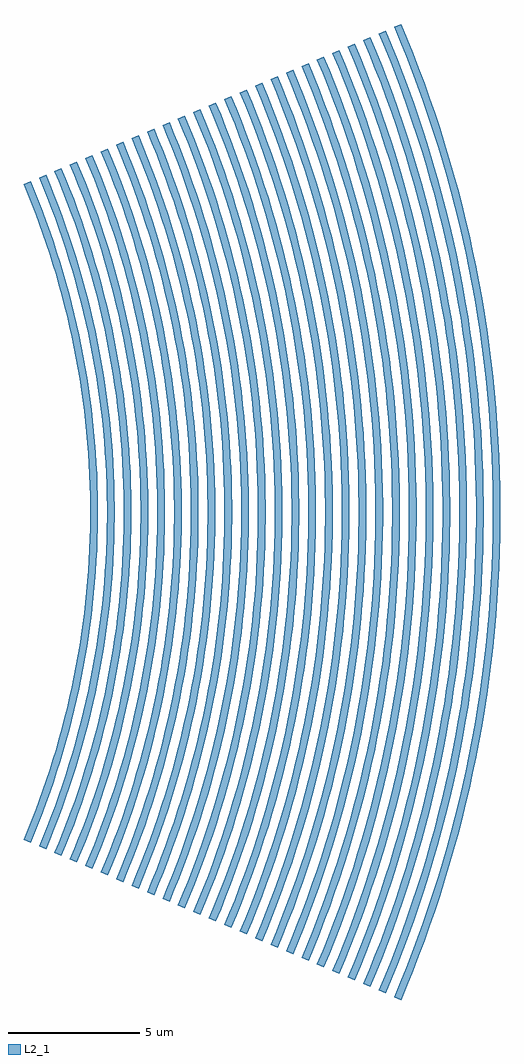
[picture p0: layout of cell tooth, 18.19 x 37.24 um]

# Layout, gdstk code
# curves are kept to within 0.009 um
import gdstk
lib = gdstk.Library(unit=1e-6, precision=1e-10)
def P(c, l, *ps):  # polygons
    for p in ps: c.add(gdstk.Polygon(p, *l))
L2_1 = (2, 1)

tooth = lib.new_cell('tooth')
P(tooth, L2_1, [(29.7231,-12.6167),(30.1836,-11.4714),(30.4662,-10.6985),(30.7289,-9.9186),(30.9717,-9.1323),(31.1944,-8.34),(31.3968,-7.5423),(31.5788,-6.7397),(31.7403,-5.9328),(31.8812,-5.1219),(32.0014,-4.3078),(32.1007,-3.4909),(32.1793,-2.6716),(32.2369,-1.8507),(32.2736,-1.0286),(32.2893,-0.2057),(32.2841,0.6172),(32.2579,1.4397),(32.2107,2.2614),(32.1426,3.0815),(32.0537,3.8996),(31.9439,4.7153),(31.8133,5.5278),(31.6621,6.3368),(31.4903,7.1416),(31.2981,7.9418),(31.0856,8.7368),(30.8528,9.5262),(30.6,10.3094),(30.3273,11.0858),(30.035,11.8551),(29.7231,12.6167),(29.4562,12.5034),(29.7652,11.7487),(30.055,10.9863),(30.3252,10.2168),(30.5757,9.4406),(30.8064,8.6584),(31.1148,7.4746),(31.2952,6.6792),(31.4552,5.8795),(31.5949,5.0759),(31.714,4.2691),(31.854,3.0538),(31.9214,2.2411),(31.9682,1.4268),(31.9994,0.2039),(31.9838,-1.0193),(31.9474,-1.8341),(31.8903,-2.6477),(31.8124,-3.4595),(31.714,-4.2691),(31.5276,-5.4782),(31.3778,-6.2798),(31.1148,-7.4746),(30.9142,-8.2651),(30.6935,-9.0502),(30.3252,-10.2168),(30.055,-10.9863),(29.7652,-11.7487),(29.4562,-12.5034)],
  [(30.3122,-12.8668),(30.6303,-12.0901),(30.9284,-11.3056),(31.2065,-10.5137),(31.4643,-9.715),(31.7017,-8.91),(31.9185,-8.0992),(32.1145,-7.2831),(32.2897,-6.4623),(32.4439,-5.6374),(32.577,-4.8087),(32.689,-3.9769),(32.7797,-3.1426),(32.8759,-1.8874),(32.9133,-1.0489),(32.9293,-0.2098),(32.924,0.6294),(32.8972,1.4683),(32.8491,2.3062),(32.7797,3.1426),(32.689,3.9769),(32.577,4.8087),(32.4439,5.6374),(32.2897,6.4623),(32.1145,7.2831),(31.9185,8.0992),(31.7017,8.91),(31.4643,9.715),(31.2065,10.5137),(30.9284,11.3056),(30.6303,12.0901),(30.3122,12.8668),(30.0453,12.7535),(30.3605,11.9836),(30.6561,11.206),(31.062,10.0261),(31.3074,9.2312),(31.5325,8.4304),(31.7371,7.6241),(31.9211,6.8128),(32.0843,5.9971),(32.2901,4.7664),(32.4011,3.9419),(32.491,3.1149),(32.5599,2.2859),(32.6075,1.4554),(32.6393,0.208),(32.6234,-1.0397),(32.5863,-1.8708),(32.5281,-2.7006),(32.4011,-3.9419),(32.2901,-4.7664),(32.1582,-5.5877),(32.0053,-6.4054),(31.8317,-7.219),(31.6374,-8.0279),(31.3074,-9.2312),(31.062,-10.0261),(30.6561,-11.206),(30.3605,-11.9836),(30.0453,-12.7535)],
  [(30.9013,-13.1168),(31.3801,-11.9262),(31.6739,-11.1226),(31.947,-10.3118),(32.1994,-9.4943),(32.4309,-8.6706),(32.6414,-7.8413),(32.8306,-7.0069),(32.9985,-6.1679),(33.145,-5.325),(33.2699,-4.4786),(33.3732,-3.6292),(33.4549,-2.7776),(33.5148,-1.9241),(33.553,-1.0693),(33.5693,-0.2139),(33.5639,0.6417),(33.5366,1.4968),(33.4876,2.351),(33.4168,3.2037),(33.3243,4.0542),(33.2101,4.9022),(33.0744,5.7469),(32.9172,6.5879),(32.7386,7.4247),(32.5388,8.2566),(32.3178,9.0832),(32.0758,9.9038),(31.813,10.718),(31.5295,11.5253),(31.2256,12.3251),(30.9013,13.1168),(30.6344,13.0035),(30.9558,12.2186),(31.2572,11.4257),(31.5382,10.6255),(31.9213,9.4122),(32.1508,8.5957),(32.3594,7.7735),(32.547,6.9464),(32.7134,6.1147),(32.9233,4.8598),(33.0364,4.0192),(33.1281,3.176),(33.2253,1.9074),(33.2631,1.0601),(33.2793,0.2121),(33.2739,-0.6361),(33.2469,-1.4839),(33.1659,-2.7536),(33.0849,-3.5979),(32.9825,-4.4399),(32.7887,-5.6973),(32.6329,-6.531),(32.3594,-7.7735),(32.1508,-8.5957),(31.9213,-9.4122),(31.5382,-10.6255),(31.2572,-11.4257),(30.9558,-12.2186),(30.6344,-13.0035)],
  [(31.4905,-13.3669),(31.8209,-12.56),(32.1306,-11.745),(32.4195,-10.9224),(32.6874,-10.0926),(32.9339,-9.2563),(33.1591,-8.414),(33.3628,-7.5662),(33.5448,-6.7135),(33.705,-5.8565),(33.8433,-4.9956),(33.9596,-4.1315),(34.0539,-3.2647),(34.1538,-1.9607),(34.1926,-1.0897),(34.2093,-0.218),(34.2037,0.6539),(34.176,1.5254),(34.126,2.3958),(34.0539,3.2647),(33.9596,4.1315),(33.8433,4.9956),(33.705,5.8565),(33.5448,6.7135),(33.3628,7.5662),(33.1591,8.414),(32.9339,9.2563),(32.6874,10.0926),(32.4195,10.9224),(32.1306,11.745),(31.8209,12.56),(31.4905,13.3669),(31.2235,13.2536),(31.5511,12.4536),(31.8583,11.6455),(32.1447,10.8298),(32.4103,10.0071),(32.6548,9.1779),(32.9817,7.923),(33.1729,7.0799),(33.3425,6.2322),(33.5564,4.9533),(33.6717,4.0965),(33.7652,3.2371),(33.8367,2.3755),(33.8863,1.5124),(33.9193,0.2161),(33.9138,-0.6484),(33.8863,-1.5124),(33.8037,-2.8065),(33.7212,-3.6671),(33.6168,-4.5253),(33.4193,-5.8068),(33.2604,-6.6566),(33.08,-7.5021),(32.7691,-8.761),(32.5352,-9.5932),(32.2801,-10.4193),(31.8583,-11.6455),(31.5511,-12.4536),(31.2235,-13.2536)],
  [(32.0796,-13.617),(32.4162,-12.795),(32.7317,-11.9648),(33.026,-11.1267),(33.2989,-10.2814),(33.5501,-9.4295),(33.7795,-8.5714),(34.0824,-7.2741),(34.2567,-6.4031),(34.4088,-5.528),(34.5385,-4.6493),(34.6457,-3.7676),(34.7305,-2.8835),(34.7927,-1.9974),(34.8323,-1.1101),(34.8493,-0.2221),(34.8436,0.6661),(34.8153,1.5539),(34.7644,2.4406),(34.6909,3.3258),(34.5949,4.2088),(34.4764,5.0891),(34.3355,5.966),(34.1723,6.8391),(33.9869,7.7078),(33.7795,8.5714),(33.5501,9.4295),(33.2989,10.2814),(33.026,11.1267),(32.7317,11.9648),(32.4162,12.795),(32.0796,13.617),(31.8126,13.5037),(32.1465,12.6885),(32.4594,11.8652),(32.7512,11.0341),(33.0218,10.1959),(33.2709,9.351),(33.4984,8.5001),(33.7988,7.2135),(33.9717,6.3498),(34.1224,5.482),(34.2511,4.6106),(34.4023,3.2981),(34.5032,1.9808),(34.5425,1.1009),(34.5593,0.2202),(34.5425,-1.1009),(34.5032,-1.9808),(34.4415,-2.8595),(34.3574,-3.7363),(34.2511,-4.6106),(34.0498,-5.9164),(33.888,-6.7822),(33.604,-8.0725),(33.3873,-8.9263),(33.149,-9.7743),(32.8892,-10.6159),(32.4594,-11.8652),(32.1465,-12.6885),(31.8126,-13.5037)],
  [(32.6687,-13.867),(33.0115,-13.03),(33.3328,-12.1845),(33.6325,-11.331),(33.9104,-10.4703),(34.1662,-9.6027),(34.3998,-8.7288),(34.6111,-7.8493),(34.7999,-6.9647),(34.9661,-6.0756),(35.1096,-5.1825),(35.282,-3.8368),(35.3683,-2.9364),(35.4317,-2.0341),(35.472,-1.1305),(35.4893,-0.2261),(35.4835,0.6784),(35.4547,1.5824),(35.4029,2.4855),(35.328,3.3869),(35.2302,4.2861),(35.1096,5.1825),(34.9661,6.0756),(34.7999,6.9647),(34.6111,7.8493),(34.3998,8.7288),(34.1662,9.6027),(33.9104,10.4703),(33.6325,11.331),(33.3328,12.1845),(33.0115,13.03),(32.6687,13.867),(32.4018,13.7537),(32.7418,12.9235),(33.0605,12.0849),(33.3577,11.2385),(33.7629,9.9553),(34.0056,9.0916),(34.2263,8.222),(34.4247,7.3471),(34.6008,6.4674),(34.8227,5.1402),(34.9424,4.2511),(35.0393,3.3592),(35.1136,2.4652),(35.165,1.5695),(35.1993,0.2243),(35.1936,-0.6728),(35.165,-1.5695),(35.0793,-2.9124),(34.9424,-4.2511),(34.8227,-5.1402),(34.6804,-6.026),(34.5155,-6.9078),(34.3283,-7.7852),(34.0056,-9.0916),(33.7629,-9.9553),(33.3577,-11.2385),(33.0605,-12.0849),(32.7418,-12.9235),(32.4018,-13.7537)],
  [(33.2578,-14.1171),(33.7731,-12.8356),(34.0893,-11.9708),(34.3833,-11.0981),(34.6549,-10.2183),(34.9041,-9.3318),(35.1306,-8.4392),(35.3342,-7.5412),(35.5149,-6.6383),(35.6726,-5.7311),(35.807,-4.8201),(35.9182,-3.906),(36.0061,-2.9894),(36.0706,-2.0708),(36.1117,-1.1509),(36.1293,-0.2302),(36.1234,0.6906),(36.0941,1.611),(36.0413,2.5303),(35.9651,3.448),(35.8655,4.3634),(35.7427,5.276),(35.5966,6.1852),(35.4274,7.0903),(35.2352,7.9909),(35.0202,8.8862),(34.7823,9.7758),(34.5219,10.6591),(34.239,11.5354),(33.9339,12.4042),(33.6068,13.265),(33.2578,14.1171),(32.9909,14.0038),(33.3371,13.1585),(33.6616,12.3046),(34.1073,11.009),(34.3768,10.1363),(34.6239,9.2569),(34.8486,8.3715),(35.0506,7.4807),(35.2299,6.585),(35.4558,5.2337),(35.5777,4.3284),(35.6764,3.4203),(35.752,2.51),(35.8044,1.598),(35.8393,0.2284),(35.8335,-0.6851),(35.8044,-1.598),(35.7171,-2.9654),(35.5777,-4.3284),(35.4558,-5.2337),(35.3109,-6.1355),(35.1431,-7.0334),(34.8486,-8.3715),(34.6239,-9.2569),(34.3768,-10.1363),(34.1073,-11.009),(33.6616,-12.3046),(33.3371,-13.1585),(32.9909,-14.0038)],
  [(33.847,-14.3672),(34.2021,-13.4999),(34.535,-12.6239),(34.8455,-11.7397),(35.1334,-10.8479),(35.3985,-9.949),(35.6405,-9.0437),(35.8594,-8.1324),(36.055,-7.2159),(36.2272,-6.2947),(36.3758,-5.3695),(36.5009,-4.4407),(36.6022,-3.509),(36.7096,-2.1075),(36.7513,-1.1713),(36.7693,-0.2343),(36.7633,0.7028),(36.7334,1.6395),(36.6797,2.5751),(36.6022,3.509),(36.5009,4.4407),(36.3758,5.3695),(36.2272,6.2947),(36.055,7.2159),(35.8594,8.1324),(35.6405,9.0437),(35.3985,9.949),(35.1334,10.8479),(34.8455,11.7397),(34.535,12.6239),(34.2021,13.4999),(33.847,14.3672),(33.58,14.2539),(33.9324,13.3935),(34.2627,12.5244),(34.5707,11.6471),(34.8563,10.7623),(35.1193,9.8705),(35.4709,8.521),(35.6765,7.6143),(35.859,6.7026),(36.0181,5.7866),(36.1539,4.8668),(36.3135,3.4814),(36.3904,2.5548),(36.4437,1.6266),(36.4793,0.2324),(36.4615,-1.162),(36.42,-2.0909),(36.3549,-3.0183),(36.213,-4.4057),(36.0889,-5.3271),(35.9415,-6.2451),(35.6765,-7.6143),(35.4709,-8.521),(35.2422,-9.4222),(34.9906,-10.3173),(34.5707,-11.6471),(34.2627,-12.5244),(33.9324,-13.3935),(33.58,-14.2539)],
  [(34.4361,-14.6173),(34.7974,-13.7349),(35.1361,-12.8437),(35.452,-11.9441),(35.7449,-11.0367),(36.0146,-10.1222),(36.2608,-9.2011),(36.4835,-8.274),(36.6826,-7.3415),(36.8577,-6.4043),(37.009,-5.4629),(37.1362,-4.518),(37.2393,-3.5701),(37.3181,-2.6199),(37.3728,-1.668),(37.4092,-0.2384),(37.4032,0.7151),(37.3728,1.668),(37.3181,2.6199),(37.2393,3.5701),(37.1362,4.518),(37.009,5.4629),(36.8577,6.4043),(36.6826,7.3415),(36.4835,8.274),(36.2608,9.2011),(36.0146,10.1222),(35.7449,11.0367),(35.452,11.9441),(35.1361,12.8437),(34.7974,13.7349),(34.4361,14.6173),(34.1691,14.5039),(34.5277,13.6284),(34.8638,12.7441),(35.3254,11.4022),(35.6045,10.4983),(35.8605,9.5875),(36.0932,8.6705),(36.3024,7.7479),(36.4881,6.8202),(36.65,5.8881),(36.7882,4.9522),(36.9506,3.5424),(37.0289,2.5996),(37.0831,1.6551),(37.1192,0.2365),(37.1132,-0.7095),(37.0831,-1.6551),(37.0289,-2.5996),(36.9506,-3.5424),(36.7882,-4.9522),(36.65,-5.8881),(36.4881,-6.8202),(36.3024,-7.7479),(36.0932,-8.6705),(35.8605,-9.5875),(35.6045,-10.4983),(35.3254,-11.4022),(34.8638,-12.7441),(34.5277,-13.6284),(34.1691,-14.5039)],
  [(35.0252,-14.8673),(35.3927,-13.9699),(35.7372,-13.0634),(36.0586,-12.1484),(36.3564,-11.2255),(36.6307,-10.2953),(36.8812,-9.3585),(37.1077,-8.4155),(37.3101,-7.4671),(37.5683,-6.0356),(37.7099,-5.0762),(37.827,-4.1136),(37.9195,-3.1482),(37.9875,-2.1808),(38.0307,-1.212),(38.0492,-0.2424),(38.043,0.7273),(38.0122,1.6966),(37.9566,2.6647),(37.8763,3.6312),(37.7715,4.5953),(37.6421,5.5564),(37.4883,6.5139),(37.3101,7.4671),(37.1077,8.4155),(36.8812,9.3585),(36.6307,10.2953),(36.3564,11.2255),(36.0586,12.1484),(35.7372,13.0634),(35.3927,13.9699),(35.0252,14.8673),(34.7583,14.754),(35.123,13.8634),(35.4649,12.9638),(35.9345,11.5988),(36.2184,10.6793),(36.4788,9.7528),(36.7155,8.82),(36.9283,7.8814),(37.1172,6.9378),(37.2819,5.9896),(37.4225,5.0375),(37.5877,3.6035),(37.6979,2.1642),(37.7408,1.2028),(37.7592,0.2406),(37.7531,-0.7218),(37.7224,-1.6836),(37.6673,-2.6444),(37.5877,-3.6035),(37.4225,-5.0375),(37.2819,-5.9896),(37.1172,-6.9378),(36.9283,-7.8814),(36.7155,-8.82),(36.4788,-9.7528),(36.2184,-10.6793),(35.9345,-11.5988),(35.4649,-12.9638),(35.123,-13.8634),(34.7583,-14.754)],
  [(35.6143,-15.1174),(35.988,-14.2049),(36.3383,-13.2831),(36.6651,-12.3527),(36.968,-11.4143),(37.2468,-10.4685),(37.5015,-9.5159),(37.7319,-8.5571),(37.9377,-7.5927),(38.1188,-6.6234),(38.2753,-5.6498),(38.4068,-4.6726),(38.5134,-3.6923),(38.6264,-2.2175),(38.6704,-1.2324),(38.6892,-0.2465),(38.6829,0.7395),(38.6515,1.7251),(38.595,2.7096),(38.5134,3.6923),(38.4068,4.6726),(38.2753,5.6498),(38.1188,6.6234),(37.9377,7.5927),(37.7319,8.5571),(37.5015,9.5159),(37.2468,10.4685),(36.968,11.4143),(36.6651,12.3527),(36.3383,13.2831),(35.988,14.2049),(35.6143,15.1174),(35.3474,15.0041),(35.7183,14.0984),(36.066,13.1835),(36.3902,12.2601),(36.6909,11.3288),(37.0971,9.9181),(37.3378,8.9695),(37.5542,8.015),(37.7463,7.0554),(37.9884,5.6075),(38.1189,4.6375),(38.2247,3.6646),(38.3369,2.2009),(38.3805,1.2232),(38.3992,0.2447),(38.393,-0.734),(38.3618,-1.7122),(38.2683,-3.1772),(38.1749,-4.1514),(38.0567,-5.1229),(37.9138,-6.0911),(37.7463,-7.0554),(37.5542,-8.015),(37.3378,-8.9695),(37.0971,-9.9181),(36.6909,-11.3288),(36.3902,-12.2601),(36.066,-13.1835),(35.7183,-14.0984),(35.3474,-15.0041)],
  [(36.2035,-15.3675),(36.5833,-14.4398),(36.9394,-13.5028),(37.2716,-12.5571),(37.5795,-11.6031),(37.863,-10.6417),(38.1219,-9.6733),(38.356,-8.6986),(38.5652,-7.7183),(38.8321,-6.2386),(38.9784,-5.247),(39.0995,-4.2519),(39.1951,-3.2541),(39.2653,-2.2542),(39.31,-1.2528),(39.3292,-0.2506),(39.3228,0.7518),(39.2909,1.7536),(39.2334,2.7544),(39.1505,3.7533),(39.0421,4.7499),(38.9084,5.7433),(38.7494,6.733),(38.5652,7.7183),(38.356,8.6986),(38.1219,9.6733),(37.863,10.6417),(37.5795,11.6031),(37.2716,12.5571),(36.9394,13.5028),(36.5833,14.4398),(36.2035,15.3675),(35.9365,15.2541),(36.3136,14.3334),(36.6671,13.4033),(36.9967,12.4645),(37.3024,11.5176),(37.5838,10.5632),(37.9601,9.119),(38.1801,8.1486),(38.3754,7.173),(38.6215,5.7009),(38.7543,4.7148),(38.8618,3.7257),(38.9441,2.7341),(39.0012,1.7407),(39.0392,0.2488),(39.0329,-0.7462),(39.0012,-1.7407),(38.9441,-2.7341),(38.8618,-3.7257),(38.7543,-4.7148),(38.6215,-5.7009),(38.3754,-7.173),(38.1801,-8.1486),(37.9601,-9.119),(37.5838,-10.5632),(37.3024,-11.5176),(36.9967,-12.4645),(36.6671,-13.4033),(36.3136,-14.3334),(35.9365,-15.2541)],
  [(36.7926,-15.6175),(37.1786,-14.6748),(37.5405,-13.7226),(37.8781,-12.7614),(38.191,-11.7919),(38.4791,-10.8148),(38.7422,-9.8307),(38.9802,-8.8402),(39.1928,-7.8439),(39.3799,-6.8426),(39.5415,-5.8367),(39.6774,-4.8272),(39.7876,-3.8144),(39.9043,-2.2909),(39.9497,-1.2732),(39.9692,-0.2547),(39.9627,0.764),(39.9302,1.7822),(39.8719,2.7992),(39.7876,3.8144),(39.6774,4.8272),(39.5415,5.8367),(39.3799,6.8426),(39.1928,7.8439),(38.9802,8.8402),(38.7422,9.8307),(38.4791,10.8148),(38.191,11.7919),(37.8781,12.7614),(37.5405,13.7226),(37.1786,14.6748),(36.7926,15.6175),(36.5256,15.5042),(36.9089,14.5683),(37.2682,13.623),(37.6032,12.6688),(37.9139,11.7064),(38.1999,10.7364),(38.5824,9.2685),(38.806,8.2822),(39.0045,7.2905),(39.1776,6.2942),(39.3253,5.2937),(39.4989,3.7867),(39.6148,2.2743),(39.6599,1.264),(39.6792,0.2528),(39.6728,-0.7585),(39.6405,-1.7693),(39.5826,-2.7789),(39.4989,-3.7867),(39.3253,-5.2937),(39.1776,-6.2942),(39.0045,-7.2905),(38.806,-8.2822),(38.5824,-9.2685),(38.1999,-10.7364),(37.9139,-11.7064),(37.6032,-12.6688),(37.2682,-13.623),(36.9089,-14.5683),(36.5256,-15.5042)],
  [(37.3817,-15.8676),(37.7739,-14.9098),(38.1416,-13.9423),(38.4846,-12.9657),(38.8025,-11.9808),(39.0952,-10.988),(39.3625,-9.9881),(39.6043,-8.9817),(39.8203,-7.9695),(40.0105,-6.9521),(40.1747,-5.9302),(40.3128,-4.9044),(40.4247,-3.8755),(40.5103,-2.844),(40.5696,-1.8107),(40.6092,-0.2588),(40.6026,0.7762),(40.5696,1.8107),(40.5103,2.844),(40.4247,3.8755),(40.3128,4.9044),(40.1747,5.9302),(40.0105,6.9521),(39.8203,7.9695),(39.6043,8.9817),(39.3625,9.9881),(39.0952,10.988),(38.8025,11.9808),(38.4846,12.9657),(38.1416,13.9423),(37.7739,14.9098),(37.3817,15.8676),(37.1148,15.7543),(37.5042,14.8033),(37.8693,13.8427),(38.3707,12.3852),(38.6739,11.4033),(38.9519,10.414),(39.2047,9.4179),(39.4319,8.4158),(39.6336,7.4081),(39.8095,6.3957),(39.9596,5.3791),(40.136,3.8478),(40.221,2.8237),(40.2799,1.7978),(40.3192,0.2569),(40.3126,-0.7707),(40.2799,-1.7978),(40.1818,-3.336),(40.0837,-4.359),(39.9596,-5.3791),(39.8095,-6.3957),(39.6336,-7.4081),(39.4319,-8.4158),(39.2047,-9.4179),(38.9519,-10.414),(38.6739,-11.4033),(38.3707,-12.3852),(37.8693,-13.8427),(37.5042,-14.8033),(37.1148,-15.7543)],
  [(37.9708,-16.1177),(38.3692,-15.1448),(38.7427,-14.162),(39.0911,-13.1701),(39.414,-12.1696),(39.7113,-11.1612),(39.9829,-10.1455),(40.2285,-9.1233),(40.4479,-8.0951),(40.6411,-7.0617),(40.8078,-6.0237),(40.9481,-4.9817),(41.0617,-3.9366),(41.1487,-2.8889),(41.209,-1.8393),(41.2492,-0.2628),(41.2425,0.7885),(41.209,1.8393),(41.1487,2.8889),(41.0617,3.9366),(40.9481,4.9817),(40.8078,6.0237),(40.6411,7.0617),(40.4479,8.0951),(40.2285,9.1233),(39.9829,10.1455),(39.7113,11.1612),(39.414,12.1696),(39.0911,13.1701),(38.7427,14.162),(38.3692,15.1448),(37.9708,16.1177),(37.7039,16.0043),(38.0995,15.0383),(38.4704,14.0624),(38.8162,13.0775),(39.1369,12.084),(39.4322,11.0827),(39.7018,10.0742),(40.0578,8.5494),(40.2627,7.5257),(40.4414,6.4972),(40.5939,5.4645),(40.7731,3.9089),(40.8594,2.8685),(40.9193,1.8263),(40.9592,0.261),(40.9525,-0.7829),(40.9193,-1.8263),(40.8594,-2.8685),(40.7731,-3.9089),(40.5939,-5.4645),(40.4414,-6.4972),(40.2627,-7.5257),(40.0578,-8.5494),(39.7018,-10.0742),(39.4322,-11.0827),(39.1369,-12.084),(38.8162,-13.0775),(38.4704,-14.0624),(38.0995,-15.0383),(37.7039,-16.0043)],
  [(38.5599,-16.3677),(39.1574,-14.8819),(39.5239,-13.8792),(39.8648,-12.8674),(40.1798,-11.8473),(40.4686,-10.8195),(40.7312,-9.7847),(40.9674,-8.7435),(41.1769,-7.6966),(41.3596,-6.6447),(41.5155,-5.5885),(41.6445,-4.5287),(41.7464,-3.4659),(41.8211,-2.4009),(41.8687,-1.3344),(41.8891,-0.2669),(41.8823,0.8007),(41.8483,1.8678),(41.7871,2.9337),(41.6988,3.9977),(41.5834,5.059),(41.441,6.1171),(41.2716,7.1712),(41.0754,8.2207),(40.8526,9.2648),(40.6032,10.3029),(40.3275,11.3343),(40.0255,12.3584),(39.6976,13.3744),(39.3438,14.3817),(38.9645,15.3797),(38.5599,16.3677),(38.293,16.2544),(38.6948,15.2733),(39.0715,14.2822),(39.4228,13.2818),(39.9016,11.7653),(40.1885,10.7446),(40.4492,9.7169),(40.6837,8.6829),(40.8918,7.6433),(41.1541,6.0748),(41.2955,5.024),(41.4101,3.97),(41.5316,2.3843),(41.5789,1.3251),(41.5992,0.2651),(41.5789,-1.3251),(41.5316,-2.3843),(41.4574,-3.442),(41.3562,-4.4974),(41.2281,-5.5498),(41.0733,-6.5987),(40.8918,-7.6433),(40.6837,-8.6829),(40.4492,-9.7169),(40.1885,-10.7446),(39.9016,-11.7653),(39.4228,-13.2818),(39.0715,-14.2822),(38.6948,-15.2733),(38.293,-16.2544)],
  [(39.1491,-16.6178),(39.5599,-15.6147),(39.9449,-14.6015),(40.3041,-13.5787),(40.637,-12.5472),(40.9436,-11.5075),(41.2236,-10.4603),(41.5933,-8.8771),(41.806,-7.8142),(41.9915,-6.7462),(42.1498,-5.6739),(42.2807,-4.5979),(42.3842,-3.5189),(42.4601,-2.4376),(42.5084,-1.3547),(42.5291,-0.271),(42.5222,0.8129),(42.4877,1.8963),(42.4256,2.9785),(42.3359,4.0587),(42.2187,5.1363),(42.0741,6.2106),(41.9022,7.2808),(41.703,8.3463),(41.4768,9.4064),(41.2236,10.4603),(40.9436,11.5075),(40.637,12.5472),(40.3041,13.5787),(39.9449,14.6015),(39.5599,15.6147),(39.1491,16.6178),(38.8821,16.5045),(39.2901,15.5082),(39.6726,14.5019),(40.0293,13.4861),(40.5155,11.9463),(40.8068,10.9099),(41.0715,9.8664),(41.3096,8.8165),(41.5209,7.7609),(41.7872,6.1682),(41.9308,5.1013),(42.0472,4.0311),(42.1706,2.421),(42.2186,1.3455),(42.2391,0.2691),(42.2186,-1.3455),(42.1706,-2.421),(42.0952,-3.4949),(41.9924,-4.5665),(41.8624,-5.6352),(41.7052,-6.7002),(41.5209,-7.7609),(41.3096,-8.8165),(41.0715,-9.8664),(40.8068,-10.9099),(40.5155,-11.9463),(40.0293,-13.4861),(39.6726,-14.5019),(39.2901,-15.5082),(38.8821,-16.5045)],
  [(39.7382,-16.8679),(40.1552,-15.8497),(40.546,-14.8212),(40.9106,-13.7831),(41.2486,-12.736),(41.5597,-11.6807),(41.8439,-10.6177),(42.1009,-9.5479),(42.3306,-8.4719),(42.5327,-7.3904),(42.7072,-6.304),(42.854,-5.2136),(42.973,-4.1198),(43.064,-3.0233),(43.1271,-1.9249),(43.1691,-0.2751),(43.1621,0.8252),(43.1271,1.9249),(43.064,3.0233),(42.973,4.1198),(42.854,5.2136),(42.7072,6.304),(42.5327,7.3904),(42.3306,8.4719),(42.1009,9.5479),(41.8439,10.6177),(41.5597,11.6807),(41.2486,12.736),(40.9106,13.7831),(40.546,14.8212),(40.1552,15.8497),(39.7382,16.8679),(39.4712,16.7546),(39.8854,15.7432),(40.2737,14.7216),(40.6358,13.6905),(40.9715,12.6505),(41.2805,11.6022),(41.5628,10.5464),(41.8181,9.4838),(42.15,7.8785),(42.3371,6.8018),(42.4967,5.7206),(42.6843,4.0921),(42.7747,3.003),(42.8374,1.9119),(42.8791,0.2732),(42.8722,-0.8196),(42.8374,-1.9119),(42.733,-3.5479),(42.6287,-4.6357),(42.4967,-5.7206),(42.3371,-6.8018),(42.15,-7.8785),(41.8181,-9.4838),(41.5628,-10.5464),(41.2805,-11.6022),(40.9715,-12.6505),(40.6358,-13.6905),(40.2737,-14.7216),(39.8854,-15.7432),(39.4712,-16.7546)],
  [(40.3273,-17.1179),(40.9521,-15.564),(41.3355,-14.5153),(41.692,-13.4572),(42.0214,-12.3903),(42.3235,-11.3154),(42.5981,-10.2331),(42.8451,-9.1442),(43.0642,-8.0494),(43.2553,-6.9493),(43.4184,-5.8447),(43.5532,-4.7363),(43.6598,-3.6248),(43.738,-2.511),(43.7878,-1.3955),(43.8091,-0.2791),(43.802,0.8374),(43.7664,1.9534),(43.7024,3.0681),(43.61,4.1809),(43.4893,5.2909),(43.3404,6.3975),(43.1633,7.4999),(42.9581,8.5975),(42.7251,9.6895),(42.4642,10.7752),(42.1759,11.8538),(41.8601,12.9248),(41.5171,13.9874),(41.1471,15.0409),(40.7505,16.0846),(40.3273,17.1179),(40.0604,17.0046),(40.4807,15.9782),(40.8748,14.9413),(41.2423,13.8948),(41.583,12.8393),(41.8967,11.7754),(42.1832,10.7038),(42.5614,9.0837),(42.7791,7.9961),(42.969,6.9033),(43.131,5.806),(43.3214,4.1532),(43.4485,2.4944),(43.4979,1.3863),(43.5191,0.2773),(43.512,-0.8319),(43.4767,-1.9405),(43.4131,-3.0478),(43.3214,-4.1532),(43.131,-5.806),(42.969,-6.9033),(42.7791,-7.9961),(42.5614,-9.0837),(42.1832,-10.7038),(41.8967,-11.7754),(41.583,-12.8393),(41.2423,-13.8948),(40.8748,-14.9413),(40.4807,-15.9782),(40.0604,-17.0046)],
  [(40.9164,-17.368),(41.3458,-16.3196),(41.7482,-15.2606),(42.1236,-14.1917),(42.4716,-13.1136),(42.792,-12.027),(43.0846,-10.9326),(43.3492,-9.831),(43.5857,-8.7231),(43.7938,-7.6095),(43.9735,-6.491),(44.1895,-4.8055),(44.2976,-3.6778),(44.3769,-2.5477),(44.4274,-1.4159),(44.4491,-0.2832),(44.4419,0.8496),(44.4058,1.9819),(44.3409,3.113),(44.2471,4.242),(44.1247,5.3682),(43.9735,6.491),(43.7938,7.6095),(43.5857,8.7231),(43.3492,9.831),(43.0846,10.9326),(42.792,12.027),(42.4716,13.1136),(42.1236,14.1917),(41.7482,15.2606),(41.3458,16.3196),(40.9164,17.368),(40.6495,17.2547),(41.076,16.2131),(41.4759,15.1611),(41.8488,14.0992),(42.1945,13.0281),(42.5128,11.9485),(42.8035,10.8612),(43.1874,9.2173),(43.4082,8.1137),(43.6009,7.0048),(43.7653,5.8914),(43.9585,4.2143),(44.0516,3.0926),(44.1161,1.969),(44.1591,0.2814),(44.1519,-0.8441),(44.1161,-1.969),(44.0516,-3.0926),(43.9585,-4.2143),(43.7653,-5.8914),(43.6009,-7.0048),(43.4082,-8.1137),(43.1874,-9.2173),(42.8035,-10.8612),(42.5128,-11.9485),(42.1945,-13.0281),(41.8488,-14.0992),(41.4759,-15.1611),(41.076,-16.2131),(40.6495,-17.2547)],
  [(41.5056,-17.6181),(42.1486,-16.0188),(42.5432,-14.9394),(42.9101,-13.8504),(43.2491,-12.7523),(43.5601,-11.646),(43.8427,-10.5321),(44.0969,-9.4114),(44.3224,-8.2845),(44.5191,-7.1523),(44.6869,-6.0154),(44.8257,-4.8747),(44.9354,-3.7307),(45.0159,-2.5843),(45.0671,-1.4363),(45.0891,-0.2873),(45.0818,0.8619),(45.0452,2.0105),(44.9793,3.1578),(44.8842,4.303),(44.76,5.4455),(44.6067,6.5844),(44.4244,7.7191),(44.2132,8.8487),(43.9734,9.9726),(43.7049,11.09),(43.4081,12.2002),(43.0831,13.3024),(42.7301,14.3961),(42.3493,15.4804),(41.9411,16.5546),(41.5056,17.6181),(41.2386,17.5048),(41.6713,16.4481),(42.2696,14.8434),(42.6341,13.7613),(42.971,12.6703),(43.2799,11.5711),(43.5607,10.4644),(43.8133,9.3509),(44.0373,8.2313),(44.3198,6.5421),(44.4721,5.4105),(44.5955,4.2754),(44.7264,2.5677),(44.7773,1.4271),(44.7991,0.2855),(44.7773,-1.4271),(44.7264,-2.5677),(44.6464,-3.7067),(44.5374,-4.8433),(44.3995,-5.9768),(44.2328,-7.1063),(44.0373,-8.2313),(43.8133,-9.3509),(43.5607,-10.4644),(43.2799,-11.5711),(42.971,-12.6703),(42.6341,-13.7613),(42.2696,-14.8434),(41.6713,-16.4481),(41.2386,-17.5048)],
  [(42.0947,-17.8681),(42.5364,-16.7896),(42.9504,-15.7001),(43.3366,-14.6004),(43.6946,-13.4913),(44.0242,-12.3733),(44.3253,-11.2474),(44.7228,-9.545),(44.9515,-8.4021),(45.151,-7.2538),(45.3212,-6.1008),(45.462,-4.9438),(45.5732,-3.7837),(45.6548,-2.621),(45.7068,-1.4567),(45.7291,-0.2914),(45.7216,0.8741),(45.6845,2.039),(45.6177,3.2026),(45.5213,4.3641),(45.3953,5.5228),(45.2398,6.6779),(45.0549,7.8286),(44.8408,8.9743),(44.5975,10.1141),(44.3253,11.2474),(44.0242,12.3733),(43.6946,13.4913),(43.3366,14.6004),(42.9504,15.7001),(42.5364,16.7896),(42.0947,17.8681),(41.8277,17.7548),(42.2666,16.6831),(42.6781,15.6005),(43.0618,14.5078),(43.4175,13.4057),(43.7451,12.2949),(44.0442,11.1761),(44.4392,9.4844),(44.6664,8.3489),(44.9529,6.6355),(45.1074,5.4878),(45.2326,4.3364),(45.3653,2.6044),(45.4169,1.4474),(45.4391,0.2895),(45.4317,-0.8686),(45.3948,-2.0261),(45.2842,-3.7597),(45.1737,-4.9125),(45.0338,-6.0621),(44.8647,-7.2078),(44.6664,-8.3489),(44.4392,-9.4844),(44.0442,-11.1761),(43.7451,-12.2949),(43.4175,-13.4057),(43.0618,-14.5078),(42.6781,-15.6005),(42.2666,-16.6831),(41.8277,-17.7548)],
  [(42.6838,-18.1182),(43.3451,-16.4735),(43.7509,-15.3635),(44.1282,-14.2436),(44.4769,-13.1144),(44.7966,-11.9766),(45.0873,-10.8311),(45.3487,-9.6786),(45.5806,-8.5197),(45.7829,-7.3554),(45.9555,-6.1862),(46.0982,-5.013),(46.211,-3.8366),(46.2938,-2.6577),(46.3465,-1.4771),(46.3691,-0.2955),(46.3615,0.8863),(46.3239,2.0675),(46.2561,3.2474),(46.1584,4.4252),(46.0306,5.6001),(45.8729,6.7713),(45.6855,7.9382),(45.4683,9.0999),(45.2217,10.2557),(44.9456,11.4048),(44.6404,12.5465),(44.3061,13.6801),(43.9431,14.8048),(43.5515,15.9198),(43.1317,17.0245),(42.6838,18.1182),(42.4169,18.0049),(42.8619,16.9181),(43.2792,15.8203),(43.6683,14.7122),(44.1987,13.0323),(44.5165,11.9017),(44.8053,10.7634),(45.0651,9.618),(45.2955,8.4664),(45.4966,7.3094),(45.6681,6.1475),(45.8697,4.3975),(46.0043,2.6411),(46.0566,1.4678),(46.0791,0.2936),(46.0716,-0.8808),(46.0342,-2.0546),(45.9669,-3.2271),(45.8697,-4.3975),(45.6681,-6.1475),(45.4966,-7.3094),(45.2955,-8.4664),(45.0651,-9.618),(44.8053,-10.7634),(44.5165,-11.9017),(44.1987,-13.0323),(43.6683,-14.7122),(43.2792,-15.8203),(42.8619,-16.9181),(42.4169,-18.0049)],
  [(43.2729,-18.3683),(43.727,-17.2595),(44.1526,-16.1395),(44.5496,-15.0091),(44.9176,-13.8689),(45.2565,-12.7197),(45.5659,-11.5622),(45.8458,-10.3972),(46.0959,-9.2255),(46.316,-8.0477),(46.5061,-6.8648),(46.7345,-5.0822),(46.8488,-3.8896),(46.9327,-2.6944),(46.9861,-1.4974),(47.009,-0.2995),(47.0014,0.8986),(46.9632,2.0961),(46.8946,3.2922),(46.7954,4.4863),(46.6659,5.6774),(46.5061,6.8648),(46.316,8.0477),(46.0959,9.2255),(45.8458,10.3972),(45.5659,11.5622),(45.2565,12.7197),(44.9176,13.8689),(44.5496,15.0091),(44.1526,16.1395),(43.727,17.2595),(43.2729,18.3683),(43.006,18.255),(43.4572,17.153),(43.8803,16.04),(44.4613,14.3511),(44.8126,13.2133),(45.1347,12.067),(45.4276,10.9129),(45.691,9.7516),(45.9246,8.584),(46.1285,7.4109),(46.3024,6.2329),(46.5068,4.4586),(46.6432,2.6778),(46.6963,1.4882),(46.7191,0.2977),(46.7115,-0.893),(46.6735,-2.0832),(46.6053,-3.2719),(46.5068,-4.4586),(46.3024,-6.2329),(46.1285,-7.4109),(45.9246,-8.584),(45.691,-9.7516),(45.4276,-10.9129),(45.1347,-12.067),(44.8126,-13.2133),(44.4613,-14.3511),(43.8803,-16.04),(43.4572,-17.153),(43.006,-18.255)],
  [(43.8621,-18.6183),(44.3223,-17.4945),(44.7537,-16.3593),(45.1561,-15.2134),(45.5292,-14.0577),(45.8726,-12.8928),(46.1863,-11.7196),(46.6005,-9.9457),(46.8388,-8.7549),(47.0467,-7.5584),(47.2241,-6.357),(47.3707,-5.1514),(47.4866,-3.9425),(47.5717,-2.7311),(47.6258,-1.5178),(47.649,-0.3036),(47.6413,0.9108),(47.6026,2.1246),(47.533,3.3371),(47.4325,4.5473),(47.3012,5.7547),(47.1392,6.9582),(46.9466,8.1573),(46.7234,9.3511),(46.47,10.5388),(46.1863,11.7196),(45.8726,12.8928),(45.5292,14.0577),(45.1561,15.2134),(44.7537,16.3593),(44.3223,17.4945),(43.8621,18.6183),(43.5951,18.505),(44.0525,17.388),(44.4814,16.2597),(44.8813,15.1208),(45.2521,13.9721),(45.5934,12.8144),(46.0499,11.0624),(46.3169,9.8852),(46.5537,8.7016),(46.8523,6.9159),(47.0134,5.7196),(47.1438,4.5197),(47.2437,3.3168),(47.3129,2.1117),(47.359,0.3018),(47.336,-1.5086),(47.2821,-2.7144),(47.1976,-3.9185),(47.0824,-5.1201),(46.9366,-6.3183),(46.7604,-7.5124),(46.5537,-8.7016),(46.3169,-9.8852),(46.0499,-11.0624),(45.5934,-12.8144),(45.2521,-13.9721),(44.8813,-15.1208),(44.4814,-16.2597),(44.0525,-17.388),(43.5951,-18.505)])

lib.write_gds('tooth.gds')
